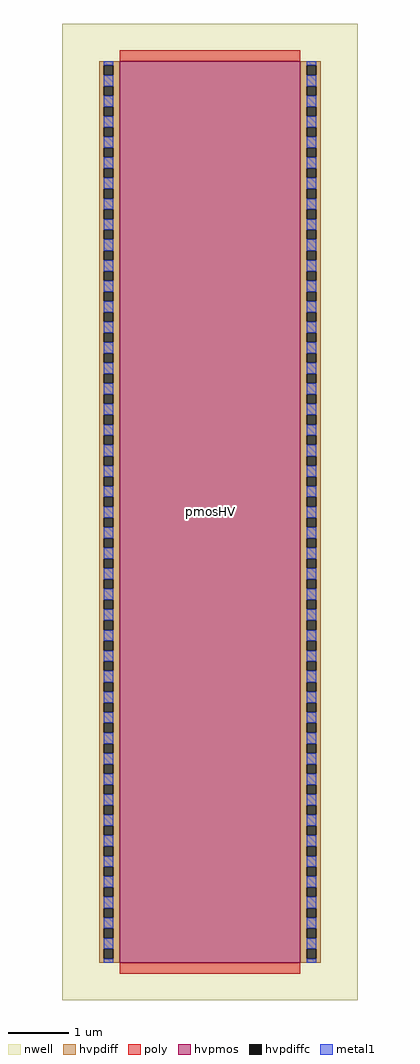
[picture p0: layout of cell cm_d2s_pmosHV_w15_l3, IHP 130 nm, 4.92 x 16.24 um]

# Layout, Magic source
magic
tech ihp-sg13cmos5l
magscale 1 2
<< nwell >>
rect -124 -124 860 3124
<< hvpmos >>
rect 68 0 668 3000
<< hvpdiff >>
rect 0 2986 68 3000
rect 0 2954 14 2986
rect 46 2954 68 2986
rect 0 2917 68 2954
rect 0 2885 14 2917
rect 46 2885 68 2917
rect 0 2849 68 2885
rect 0 2817 14 2849
rect 46 2817 68 2849
rect 0 2780 68 2817
rect 0 2748 14 2780
rect 46 2748 68 2780
rect 0 2712 68 2748
rect 0 2680 14 2712
rect 46 2680 68 2712
rect 0 2644 68 2680
rect 0 2612 14 2644
rect 46 2612 68 2644
rect 0 2575 68 2612
rect 0 2543 14 2575
rect 46 2543 68 2575
rect 0 2507 68 2543
rect 0 2475 14 2507
rect 46 2475 68 2507
rect 0 2439 68 2475
rect 0 2407 14 2439
rect 46 2407 68 2439
rect 0 2370 68 2407
rect 0 2338 14 2370
rect 46 2338 68 2370
rect 0 2302 68 2338
rect 0 2270 14 2302
rect 46 2270 68 2302
rect 0 2233 68 2270
rect 0 2201 14 2233
rect 46 2201 68 2233
rect 0 2165 68 2201
rect 0 2133 14 2165
rect 46 2133 68 2165
rect 0 2097 68 2133
rect 0 2065 14 2097
rect 46 2065 68 2097
rect 0 2028 68 2065
rect 0 1996 14 2028
rect 46 1996 68 2028
rect 0 1960 68 1996
rect 0 1928 14 1960
rect 46 1928 68 1960
rect 0 1892 68 1928
rect 0 1860 14 1892
rect 46 1860 68 1892
rect 0 1823 68 1860
rect 0 1791 14 1823
rect 46 1791 68 1823
rect 0 1755 68 1791
rect 0 1723 14 1755
rect 46 1723 68 1755
rect 0 1686 68 1723
rect 0 1654 14 1686
rect 46 1654 68 1686
rect 0 1618 68 1654
rect 0 1586 14 1618
rect 46 1586 68 1618
rect 0 1550 68 1586
rect 0 1518 14 1550
rect 46 1518 68 1550
rect 0 1481 68 1518
rect 0 1449 14 1481
rect 46 1449 68 1481
rect 0 1413 68 1449
rect 0 1381 14 1413
rect 46 1381 68 1413
rect 0 1345 68 1381
rect 0 1313 14 1345
rect 46 1313 68 1345
rect 0 1276 68 1313
rect 0 1244 14 1276
rect 46 1244 68 1276
rect 0 1208 68 1244
rect 0 1176 14 1208
rect 46 1176 68 1208
rect 0 1139 68 1176
rect 0 1107 14 1139
rect 46 1107 68 1139
rect 0 1071 68 1107
rect 0 1039 14 1071
rect 46 1039 68 1071
rect 0 1003 68 1039
rect 0 971 14 1003
rect 46 971 68 1003
rect 0 934 68 971
rect 0 902 14 934
rect 46 902 68 934
rect 0 866 68 902
rect 0 834 14 866
rect 46 834 68 866
rect 0 798 68 834
rect 0 766 14 798
rect 46 766 68 798
rect 0 729 68 766
rect 0 697 14 729
rect 46 697 68 729
rect 0 661 68 697
rect 0 629 14 661
rect 46 629 68 661
rect 0 592 68 629
rect 0 560 14 592
rect 46 560 68 592
rect 0 524 68 560
rect 0 492 14 524
rect 46 492 68 524
rect 0 456 68 492
rect 0 424 14 456
rect 46 424 68 456
rect 0 387 68 424
rect 0 355 14 387
rect 46 355 68 387
rect 0 319 68 355
rect 0 287 14 319
rect 46 287 68 319
rect 0 251 68 287
rect 0 219 14 251
rect 46 219 68 251
rect 0 182 68 219
rect 0 150 14 182
rect 46 150 68 182
rect 0 114 68 150
rect 0 82 14 114
rect 46 82 68 114
rect 0 46 68 82
rect 0 14 14 46
rect 46 14 68 46
rect 0 0 68 14
rect 668 2986 736 3000
rect 668 2954 690 2986
rect 722 2954 736 2986
rect 668 2917 736 2954
rect 668 2885 690 2917
rect 722 2885 736 2917
rect 668 2849 736 2885
rect 668 2817 690 2849
rect 722 2817 736 2849
rect 668 2780 736 2817
rect 668 2748 690 2780
rect 722 2748 736 2780
rect 668 2712 736 2748
rect 668 2680 690 2712
rect 722 2680 736 2712
rect 668 2644 736 2680
rect 668 2612 690 2644
rect 722 2612 736 2644
rect 668 2575 736 2612
rect 668 2543 690 2575
rect 722 2543 736 2575
rect 668 2507 736 2543
rect 668 2475 690 2507
rect 722 2475 736 2507
rect 668 2439 736 2475
rect 668 2407 690 2439
rect 722 2407 736 2439
rect 668 2370 736 2407
rect 668 2338 690 2370
rect 722 2338 736 2370
rect 668 2302 736 2338
rect 668 2270 690 2302
rect 722 2270 736 2302
rect 668 2233 736 2270
rect 668 2201 690 2233
rect 722 2201 736 2233
rect 668 2165 736 2201
rect 668 2133 690 2165
rect 722 2133 736 2165
rect 668 2097 736 2133
rect 668 2065 690 2097
rect 722 2065 736 2097
rect 668 2028 736 2065
rect 668 1996 690 2028
rect 722 1996 736 2028
rect 668 1960 736 1996
rect 668 1928 690 1960
rect 722 1928 736 1960
rect 668 1892 736 1928
rect 668 1860 690 1892
rect 722 1860 736 1892
rect 668 1823 736 1860
rect 668 1791 690 1823
rect 722 1791 736 1823
rect 668 1755 736 1791
rect 668 1723 690 1755
rect 722 1723 736 1755
rect 668 1686 736 1723
rect 668 1654 690 1686
rect 722 1654 736 1686
rect 668 1618 736 1654
rect 668 1586 690 1618
rect 722 1586 736 1618
rect 668 1550 736 1586
rect 668 1518 690 1550
rect 722 1518 736 1550
rect 668 1481 736 1518
rect 668 1449 690 1481
rect 722 1449 736 1481
rect 668 1413 736 1449
rect 668 1381 690 1413
rect 722 1381 736 1413
rect 668 1345 736 1381
rect 668 1313 690 1345
rect 722 1313 736 1345
rect 668 1276 736 1313
rect 668 1244 690 1276
rect 722 1244 736 1276
rect 668 1208 736 1244
rect 668 1176 690 1208
rect 722 1176 736 1208
rect 668 1139 736 1176
rect 668 1107 690 1139
rect 722 1107 736 1139
rect 668 1071 736 1107
rect 668 1039 690 1071
rect 722 1039 736 1071
rect 668 1003 736 1039
rect 668 971 690 1003
rect 722 971 736 1003
rect 668 934 736 971
rect 668 902 690 934
rect 722 902 736 934
rect 668 866 736 902
rect 668 834 690 866
rect 722 834 736 866
rect 668 798 736 834
rect 668 766 690 798
rect 722 766 736 798
rect 668 729 736 766
rect 668 697 690 729
rect 722 697 736 729
rect 668 661 736 697
rect 668 629 690 661
rect 722 629 736 661
rect 668 592 736 629
rect 668 560 690 592
rect 722 560 736 592
rect 668 524 736 560
rect 668 492 690 524
rect 722 492 736 524
rect 668 456 736 492
rect 668 424 690 456
rect 722 424 736 456
rect 668 387 736 424
rect 668 355 690 387
rect 722 355 736 387
rect 668 319 736 355
rect 668 287 690 319
rect 722 287 736 319
rect 668 251 736 287
rect 668 219 690 251
rect 722 219 736 251
rect 668 182 736 219
rect 668 150 690 182
rect 722 150 736 182
rect 668 114 736 150
rect 668 82 690 114
rect 722 82 736 114
rect 668 46 736 82
rect 668 14 690 46
rect 722 14 736 46
rect 668 0 736 14
<< hvpdiffc >>
rect 14 2954 46 2986
rect 14 2885 46 2917
rect 14 2817 46 2849
rect 14 2748 46 2780
rect 14 2680 46 2712
rect 14 2612 46 2644
rect 14 2543 46 2575
rect 14 2475 46 2507
rect 14 2407 46 2439
rect 14 2338 46 2370
rect 14 2270 46 2302
rect 14 2201 46 2233
rect 14 2133 46 2165
rect 14 2065 46 2097
rect 14 1996 46 2028
rect 14 1928 46 1960
rect 14 1860 46 1892
rect 14 1791 46 1823
rect 14 1723 46 1755
rect 14 1654 46 1686
rect 14 1586 46 1618
rect 14 1518 46 1550
rect 14 1449 46 1481
rect 14 1381 46 1413
rect 14 1313 46 1345
rect 14 1244 46 1276
rect 14 1176 46 1208
rect 14 1107 46 1139
rect 14 1039 46 1071
rect 14 971 46 1003
rect 14 902 46 934
rect 14 834 46 866
rect 14 766 46 798
rect 14 697 46 729
rect 14 629 46 661
rect 14 560 46 592
rect 14 492 46 524
rect 14 424 46 456
rect 14 355 46 387
rect 14 287 46 319
rect 14 219 46 251
rect 14 150 46 182
rect 14 82 46 114
rect 14 14 46 46
rect 690 2954 722 2986
rect 690 2885 722 2917
rect 690 2817 722 2849
rect 690 2748 722 2780
rect 690 2680 722 2712
rect 690 2612 722 2644
rect 690 2543 722 2575
rect 690 2475 722 2507
rect 690 2407 722 2439
rect 690 2338 722 2370
rect 690 2270 722 2302
rect 690 2201 722 2233
rect 690 2133 722 2165
rect 690 2065 722 2097
rect 690 1996 722 2028
rect 690 1928 722 1960
rect 690 1860 722 1892
rect 690 1791 722 1823
rect 690 1723 722 1755
rect 690 1654 722 1686
rect 690 1586 722 1618
rect 690 1518 722 1550
rect 690 1449 722 1481
rect 690 1381 722 1413
rect 690 1313 722 1345
rect 690 1244 722 1276
rect 690 1176 722 1208
rect 690 1107 722 1139
rect 690 1039 722 1071
rect 690 971 722 1003
rect 690 902 722 934
rect 690 834 722 866
rect 690 766 722 798
rect 690 697 722 729
rect 690 629 722 661
rect 690 560 722 592
rect 690 492 722 524
rect 690 424 722 456
rect 690 355 722 387
rect 690 287 722 319
rect 690 219 722 251
rect 690 150 722 182
rect 690 82 722 114
rect 690 14 722 46
<< poly >>
rect 68 3000 668 3036
rect 68 -36 668 0
<< metal1 >>
rect 14 2986 46 3000
rect 14 2917 46 2954
rect 14 2849 46 2885
rect 14 2780 46 2817
rect 14 2712 46 2748
rect 14 2644 46 2680
rect 14 2575 46 2612
rect 14 2507 46 2543
rect 14 2439 46 2475
rect 14 2370 46 2407
rect 14 2302 46 2338
rect 14 2233 46 2270
rect 14 2165 46 2201
rect 14 2097 46 2133
rect 14 2028 46 2065
rect 14 1960 46 1996
rect 14 1892 46 1928
rect 14 1823 46 1860
rect 14 1755 46 1791
rect 14 1686 46 1723
rect 14 1618 46 1654
rect 14 1550 46 1586
rect 14 1481 46 1518
rect 14 1413 46 1449
rect 14 1345 46 1381
rect 14 1276 46 1313
rect 14 1208 46 1244
rect 14 1139 46 1176
rect 14 1071 46 1107
rect 14 1003 46 1039
rect 14 934 46 971
rect 14 866 46 902
rect 14 798 46 834
rect 14 729 46 766
rect 14 661 46 697
rect 14 592 46 629
rect 14 524 46 560
rect 14 456 46 492
rect 14 387 46 424
rect 14 319 46 355
rect 14 251 46 287
rect 14 182 46 219
rect 14 114 46 150
rect 14 46 46 82
rect 14 0 46 14
rect 690 2986 722 3000
rect 690 2917 722 2954
rect 690 2849 722 2885
rect 690 2780 722 2817
rect 690 2712 722 2748
rect 690 2644 722 2680
rect 690 2575 722 2612
rect 690 2507 722 2543
rect 690 2439 722 2475
rect 690 2370 722 2407
rect 690 2302 722 2338
rect 690 2233 722 2270
rect 690 2165 722 2201
rect 690 2097 722 2133
rect 690 2028 722 2065
rect 690 1960 722 1996
rect 690 1892 722 1928
rect 690 1823 722 1860
rect 690 1755 722 1791
rect 690 1686 722 1723
rect 690 1618 722 1654
rect 690 1550 722 1586
rect 690 1481 722 1518
rect 690 1413 722 1449
rect 690 1345 722 1381
rect 690 1276 722 1313
rect 690 1208 722 1244
rect 690 1139 722 1176
rect 690 1071 722 1107
rect 690 1003 722 1039
rect 690 934 722 971
rect 690 866 722 902
rect 690 798 722 834
rect 690 729 722 766
rect 690 661 722 697
rect 690 592 722 629
rect 690 524 722 560
rect 690 456 722 492
rect 690 387 722 424
rect 690 319 722 355
rect 690 251 722 287
rect 690 182 722 219
rect 690 114 722 150
rect 690 46 722 82
rect 690 0 722 14
<< labels >>
flabel comment s 368 1500 368 1500 0 FreeSans 200 90 0 0 pmosHV
<< properties >>
string GDS_END 26286
string GDS_FILE custom_io/gds/sg13cmos5l_IOPadDiff2Single.uniq.gds
string GDS_START 19676
<< end >>
